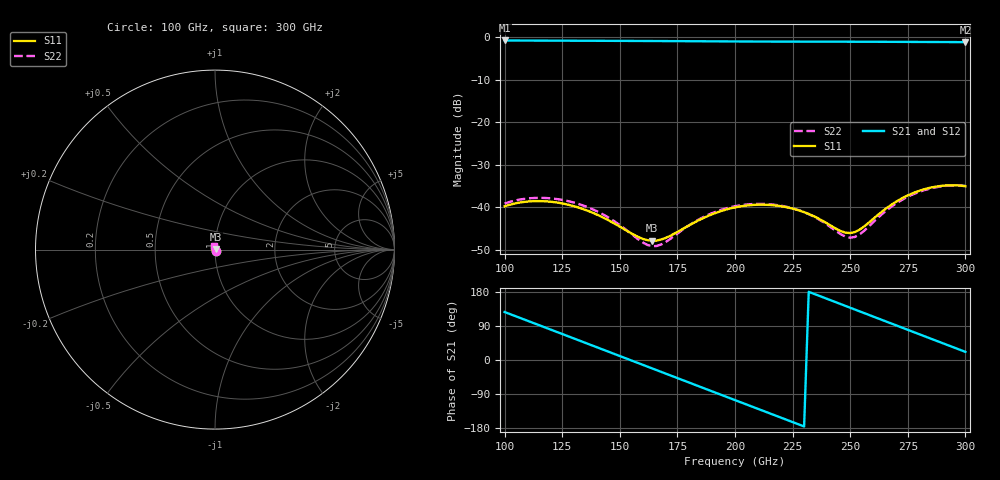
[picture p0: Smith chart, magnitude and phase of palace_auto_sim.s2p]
#  GHZ S DB R 50
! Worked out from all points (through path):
!   101 points, 100 GHz to 300 GHz, reference 50 ohm
!   highest |S21| = -0.70 dB at 100 GHz (marker M1); lowest = -1.1 dB at 300 GHz (marker M2)
!   group delay of S21, straight-line fit = 6.46 ps
!   lowest |S11| = -47.9 dB at 164 GHz (marker M3), VSWR 1.01, Z = 50.4 + j0.164 ohm
!   |S11| at or under -10 dB: start of sweep to end of sweep
!   |S22| runs from -49.2 to -34.9 dB; largest |S21 - S12| = 1e-13
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100  -39.82 -51.2  -0.70 126.6  -0.70 126.6  -39.15 -51.4
108  -38.80 -75.7  -0.72 108.1  -0.72 108.1  -38.09 -75.3
116  -38.58 -100.8  -0.74 89.5  -0.74 89.5  -37.81 -99.8
124  -39.02 -127.7  -0.75 71.0  -0.75 71.0  -38.20 -125.7
134  -40.44 -165.0  -0.77 47.7  -0.77 47.7  -39.59 -161.0
150  -44.60 120.8  -0.80 10.5  -0.80 10.5  -44.22 129.8
164  -47.93 23.9  -0.83 -22.1  -0.83 -22.1  -49.20 28.7
168  -47.63 -7.8  -0.85 -31.4  -0.85 -31.4  -48.80 -7.8
184  -43.16 -106.8  -0.89 -68.7  -0.89 -68.7  -42.99 -108.3
192  -41.29 -143.3  -0.91 -87.3  -0.91 -87.3  -41.00 -143.2
200  -40.06 -175.6  -0.94 -105.8  -0.94 -105.8  -39.79 -174.4
208  -39.48 154.8  -0.96 -124.4  -0.96 -124.4  -39.26 156.7
218  -39.63 120.1  -0.97 -147.6  -0.97 -147.6  -39.50 122.5
226  -40.48 92.5  -0.98 -166.1  -0.98 -166.1  -40.43 95.3
234  -42.09 62.2  -0.98 175.3  -0.98 175.3  -42.17 65.5
242  -44.49 22.9  -0.99 156.6  -0.99 156.6  -44.91 26.9
250  -46.11 -35.5  -1.00 138.0  -1.00 138.0  -47.20 -34.0
260  -42.76 -107.7  -1.01 114.6  -1.01 114.6  -43.55 -112.4
268  -39.39 -145.1  -1.03 96.0  -1.03 96.0  -39.85 -150.7
282  -35.80 166.3  -1.06 63.3  -1.06 63.3  -36.02 159.5
292  -34.87 136.0  -1.08 40.0  -1.08 40.0  -34.96 127.4
300  -35.07 112.6  -1.09 21.4  -1.09 21.4  -35.00 101.8
